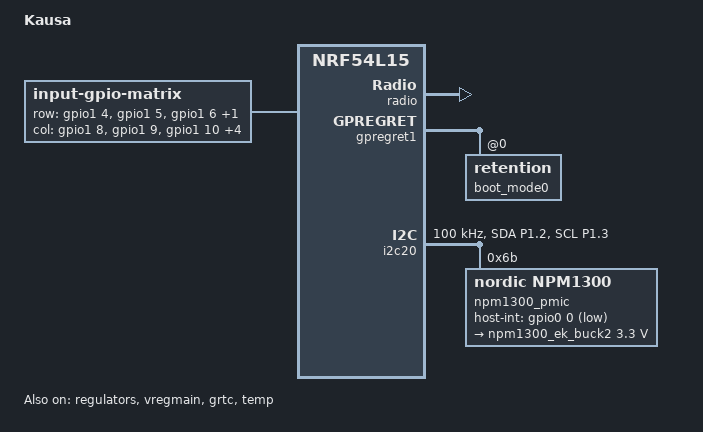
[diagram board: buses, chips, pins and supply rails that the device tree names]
/dts-v1/;

#include <arm/nordic/nrf54l15_cpuapp.dtsi>

#include <layouts/kausa-layouts.dtsi>
#include <transforms/kausa-transforms.dtsi>

&physical_layout0 {
	input = <&matrix>;
	transform = <&default_transform>;
};

/ {
	model = "Kausa";
	commpatible = "ramonmaruko,kausa";

	chosen {
		zephyr,boot-mode = &boot_mode0;
		zephyr,code-partition = &slot0_partition;
		zephyr,flash = &cpuapp_rram;
		zephyr,flash-controller = &rram_controller;
		zephyr,ieee802154 = &ieee802154;
		zephyr,sram = &cpuapp_sram;
		zmk,matrix-input = &matrix;
		zmk,physical-layout = &physical_layout0;
	};

	matrix: matrix {
		compatible = "zmk,input-gpio-matrix";
		wakeup-source;
		diode-direction = "row2col";

		row-gpios = <&gpio1 4 GPIO_ACTIVE_HIGH>,
			    <&gpio1 5 GPIO_ACTIVE_HIGH>,
			    <&gpio1 6 GPIO_ACTIVE_HIGH>,
			    <&gpio1 7 GPIO_ACTIVE_HIGH>;
		col-gpios = <&gpio1 8 (GPIO_ACTIVE_HIGH | GPIO_PULL_DOWN)>,
			    <&gpio1 9 (GPIO_ACTIVE_HIGH | GPIO_PULL_DOWN)>,
			    <&gpio1 10 (GPIO_ACTIVE_HIGH | GPIO_PULL_DOWN)>,
			    <&gpio1 11 (GPIO_ACTIVE_HIGH | GPIO_PULL_DOWN)>,
			    <&gpio1 12 (GPIO_ACTIVE_HIGH | GPIO_PULL_DOWN)>,
			    <&gpio1 13 (GPIO_ACTIVE_HIGH | GPIO_PULL_DOWN)>,
			    <&gpio1 14 (GPIO_ACTIVE_HIGH | GPIO_PULL_DOWN)>;
	};
};

&cpuapp_sram {
	status = "okay";
};

&lfxo {
	load-capacitors = "internal";
	load-capacitance-femtofarad = <9000>;
};

&hfxo {
	load-capacitors = "internal";
	load-capacitance-femtofarad = <15000>;
};

&regulators {
	status = "okay";
};

&vregmain {
	status = "okay";
	regulator-initial-mode = <NRF5X_REG_MODE_DCDC>;
};

&grtc {
	owned-channels = <0 1 2 3 4 5 6 7 8 9 10 11>;
	/* Channels 7-11 reserved for Zero Latency IRQs, 3-4 for FLPR */
	child-owned-channels = <3 4 7 8 9 10 11>;
	status = "okay";
};

&gpio0 {
	status = "okay";
};

&gpio1 {
	status = "okay";
};

&gpio2 {
	status = "okay";
};

&gpiote20 {
	status = "okay";
};

&gpiote30 {
	status = "okay";
};

&radio {
	status = "okay";
};

&temp {
	status = "okay";
};

&clock {
	status = "okay";
};

&gpregret1 {
	status = "okay";

	boot_mode0: boot_mode@0 {
		compatible = "zephyr,retention";
		status = "okay";
		reg = <0x0 0x1>;
	};
};

&i2c20 {
	status = "okay";
	pinctrl-0 = <&i2c20_default>;
	pinctrl-1 = <&i2c20_sleep>;
	pinctrl-names = "default", "sleep";
	clock-frequency = <I2C_BITRATE_STANDARD>;

	npm1300_pmic: pmic@6b {
		compatible = "nordic,npm1300";
		reg = <0x6b>;
		host-int-gpios = <&gpio0 0 (GPIO_PULL_UP | GPIO_ACTIVE_LOW)>;
		pmic-int-pin = <1>;

		npm1300_gpio: gpio-controller {
			compatible = "nordic,npm1300-gpio";
			gpio-controller;
			#gpio-cells = <2>;
			ngpios = <5>;
		};

		npm1300_regulators: regulators {
			compatible = "nordic,npm1300-regulator";

			npm1300_ek_buck2: BUCK2 {
				regulator-min-microvolt = <3300000>;
				regulator-max-microvolt = <3300000>;
				regulator-always-on;
				regulator-boot-on;
			};
		};

		npm1300_charger: charger {
			compatible = "nordic,npm1300-charger";
			term-microvolt = <4200000>;
			current-microamp = <400000>;
			dischg-limit-microamp = <200000>;
			vbus-limit-microamp = <500000>;
			thermistor-ohms = <10000>;
			thermistor-beta = <3380>;
			charging-enable;
		};
	};
};

&uicr {
	nfct-pins-as-gpios;
};

&pinctrl {
	/omit-if-no-ref/ i2c20_default: i2c20_default {
		group1 {
			psels = <NRF_PSEL(TWIM_SDA, 1, 2)>,
				<NRF_PSEL(TWIM_SCL, 1, 3)>;
			bias-pull-up;
		};
	};

	/omit-if-no-ref/ i2c20_sleep: i2c20_sleep {
		group1 {
			psels = <NRF_PSEL(TWIM_SDA, 1, 2)>,
				<NRF_PSEL(TWIM_SCL, 1, 3)>;
			bias-pull-up;
			low-power-enable;
		};
	};
};

#include <vendor/nordic/nrf54l15_cpuapp_partition.dtsi>
